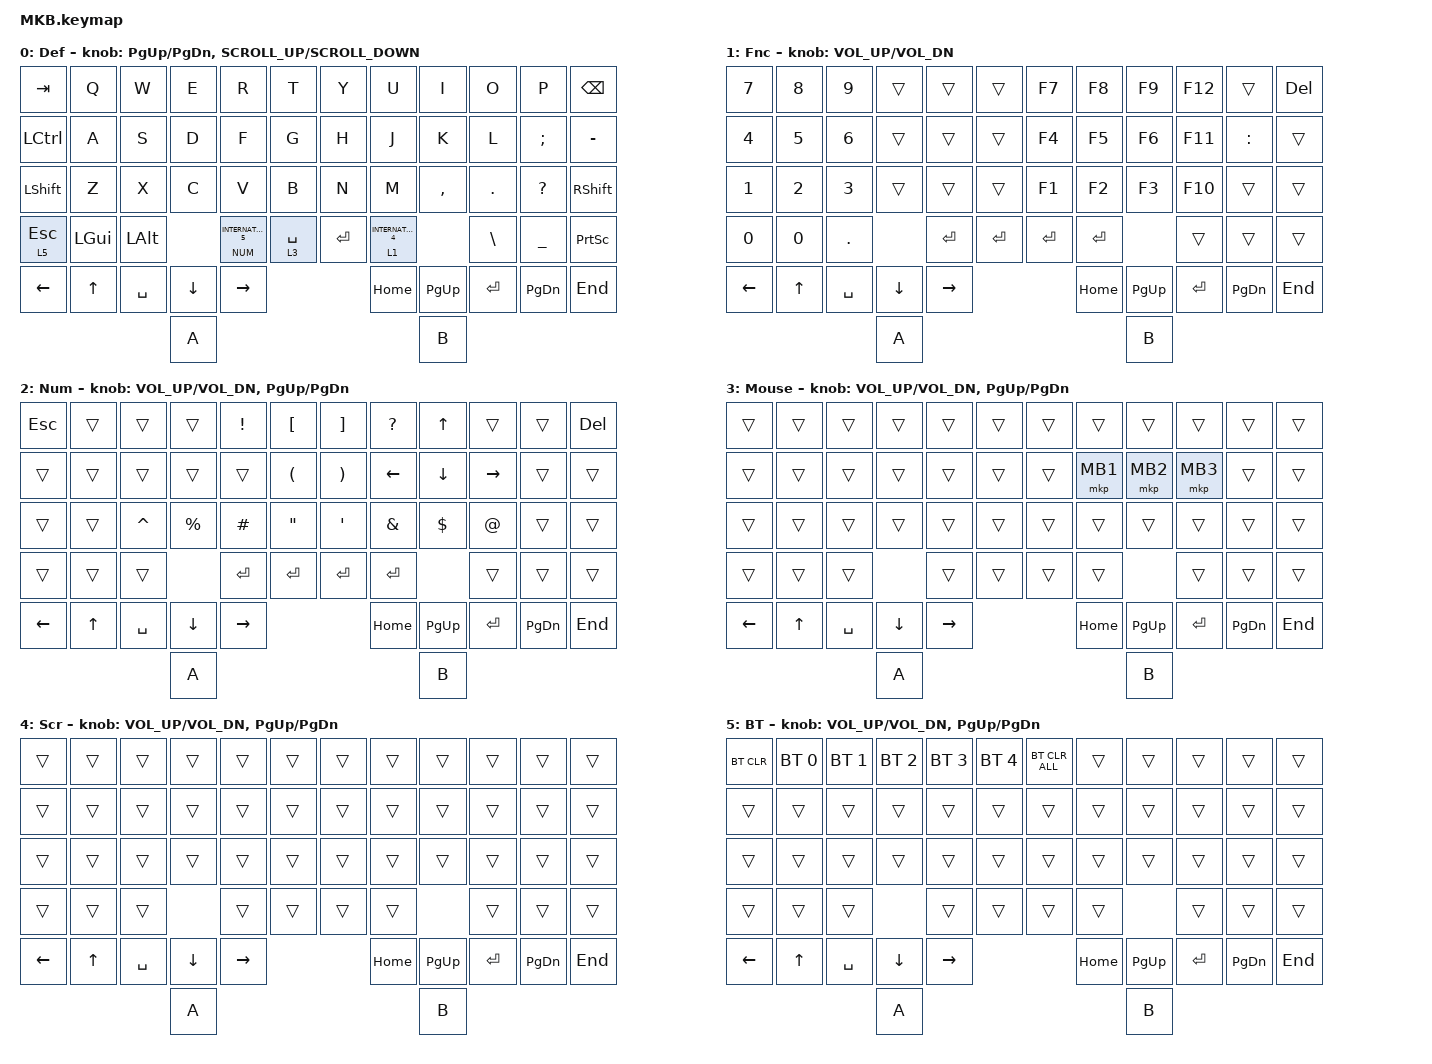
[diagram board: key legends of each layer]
// #include <layout_shift.dtsi>

#include <layout_shift_kp_override.dtsi>
#include <behaviors.dtsi>
#include <dt-bindings/zmk/bt.h>
#include <dt-bindings/zmk/keys.h>
#include <dt-bindings/zmk/pointing.h>

#define DEF 0
#define FUNC 1
#define NUM 2
#define MOUSE 3
#define SCROLL 4
#define BT 5

&mt {
    flavor = "balanced";
    tapping-term-ms = <280>;
    quick-tap-ms = <175>;
    require-prior-idle-ms = <150>;
};

/ {
    keymap {
        compatible = "zmk,keymap";

        default_layer {
            label = "Def";
            bindings = <
&kp TAB           &kp Q     &kp W      &kp E     &kp R                    &kp T            &kp Y      &kp U                  &kp I      &kp O          &kp P           &kp BKSP
&kp LEFT_CONTROL  &kp A     &kp S      &kp D     &kp F                    &kp G            &kp H      &kp J                  &kp K      &kp L          &kp SEMI        &kp MINUS
&kp LSHFT         &kp Z     &kp X      &kp C     &kp V                    &kp B            &kp N      &kp M                  &kp COMMA  &kp DOT        &kp QMARK       &kp RIGHT_SHIFT
&lt 5 ESCAPE      &kp LGUI  &kp LALT             &lt NUM INTERNATIONAL_5  &lt 3 SPACE      &kp ENTER  &lt 1 INTERNATIONAL_4             &kp BACKSLASH  &kp UNDERSCORE  &kp PRINTSCREEN
&kp LEFT          &kp UP    &kp SPACE  &kp DOWN  &kp RIGHT                                            &kp HOME               &kp PG_UP  &kp ENTER      &kp PG_DN       &kp END
                                       &kp A                                                                                 &kp B
            >;

            sensor-bindings =
                <&inc_dec_kp PG_UP PAGE_DOWN>,
                <&inc_dec_kp K_SCROLL_UP K_SCROLL_DOWN>;
        };

        function_layer {
            label = "Fnc";
            bindings = <
&kp N7        &kp N8        &kp N9        &trans    &trans     &trans         &kp F7     &kp F8     &kp F9     &kp F12    &trans     &kp DELETE
&kp NUMBER_4  &kp N5        &kp NUMBER_6  &trans    &trans     &trans         &kp F4     &kp F5     &kp F6     &kp F11    &kp COLON  &trans
&kp NUMBER_1  &kp NUMBER_2  &kp NUMBER_3  &trans    &trans     &trans         &kp F1     &kp F2     &kp F3     &kp F10    &trans     &trans
&kp N0        &kp N0        &kp DOT                 &kp ENTER  &kp ENTER      &kp ENTER  &kp ENTER             &trans     &trans     &trans
&kp LEFT      &kp UP        &kp SPACE     &kp DOWN  &kp RIGHT                            &kp HOME   &kp PG_UP  &kp ENTER  &kp PG_DN  &kp END
                                          &kp A                                                     &kp B
            >;

            sensor-bindings = <&inc_dec_kp C_VOL_UP C_VOL_DN>;
        };

        num_layer {
            label = "Num";
            bindings = <
&kp ESCAPE  &trans  &trans     &trans       &kp EXCLAMATION  &kp LEFT_BRACKET          &kp RIGHT_BRACKET      &kp QUESTION   &kp UP_ARROW    &trans           &trans     &kp DEL
&trans      &trans  &trans     &trans       &trans           &kp LEFT_PARENTHESIS      &kp RIGHT_PARENTHESIS  &kp LEFT       &kp DOWN_ARROW  &kp RIGHT_ARROW  &trans     &trans
&trans      &trans  &kp CARET  &kp PERCENT  &kp HASH         &kp DOUBLE_QUOTES         &kp SQT                &kp AMPERSAND  &kp DOLLAR      &kp AT_SIGN      &trans     &trans
&trans      &trans  &trans                  &kp ENTER        &kp ENTER                 &kp ENTER              &kp ENTER                      &trans           &trans     &trans
&kp LEFT    &kp UP  &kp SPACE  &kp DOWN     &kp RIGHT                                                         &kp HOME       &kp PG_UP       &kp ENTER        &kp PG_DN  &kp END
                               &kp A                                                                                         &kp B
            >;

            sensor-bindings = <&inc_dec_kp C_VOL_UP C_VOL_DN &inc_dec_kp PG_UP PG_DN>;
        };

        mouse_layer {
            label = "Mouse";
            bindings = <
&trans    &trans  &trans     &trans    &trans     &trans      &trans  &trans    &trans     &trans     &trans     &trans
&trans    &trans  &trans     &trans    &trans     &trans      &trans  &mkp MB1  &mkp MB2   &mkp MB3   &trans     &trans
&trans    &trans  &trans     &trans    &trans     &trans      &trans  &trans    &trans     &trans     &trans     &trans
&trans    &trans  &trans               &trans     &trans      &trans  &trans               &trans     &trans     &trans
&kp LEFT  &kp UP  &kp SPACE  &kp DOWN  &kp RIGHT                      &kp HOME  &kp PG_UP  &kp ENTER  &kp PG_DN  &kp END
                             &kp A                                              &kp B
            >;

            sensor-bindings = <&inc_dec_kp C_VOL_UP C_VOL_DN &inc_dec_kp PG_UP PG_DN>;
        };

        scroll_layer {
            label = "Scr";
            bindings = <
&trans    &trans  &trans     &trans    &trans     &trans      &trans  &trans    &trans     &trans     &trans     &trans
&trans    &trans  &trans     &trans    &trans     &trans      &trans  &trans    &trans     &trans     &trans     &trans
&trans    &trans  &trans     &trans    &trans     &trans      &trans  &trans    &trans     &trans     &trans     &trans
&trans    &trans  &trans               &trans     &trans      &trans  &trans               &trans     &trans     &trans
&kp LEFT  &kp UP  &kp SPACE  &kp DOWN  &kp RIGHT                      &kp HOME  &kp PG_UP  &kp ENTER  &kp PG_DN  &kp END
                             &kp A                                              &kp B
            >;

            sensor-bindings = <&inc_dec_kp C_VOL_UP C_VOL_DN &inc_dec_kp PG_UP PG_DN>;
        };

        bt_layer {
            label = "BT";
            bindings = <
&bt BT_CLR  &bt BT_SEL 0  &bt BT_SEL 1  &bt BT_SEL 2  &bt BT_SEL 3  &bt BT_SEL 4      &bt BT_CLR_ALL  &trans    &trans     &trans     &trans     &trans
&trans      &trans        &trans        &trans        &trans        &trans            &trans          &trans    &trans     &trans     &trans     &trans
&trans      &trans        &trans        &trans        &trans        &trans            &trans          &trans    &trans     &trans     &trans     &trans
&trans      &trans        &trans                      &trans        &trans            &trans          &trans               &trans     &trans     &trans
&kp LEFT    &kp UP        &kp SPACE     &kp DOWN      &kp RIGHT                                       &kp HOME  &kp PG_UP  &kp ENTER  &kp PG_DN  &kp END
                                        &kp A                                                                   &kp B
            >;

            sensor-bindings = <&inc_dec_kp C_VOL_UP C_VOL_DN &inc_dec_kp PG_UP PG_DN>;
        };
    };
};
